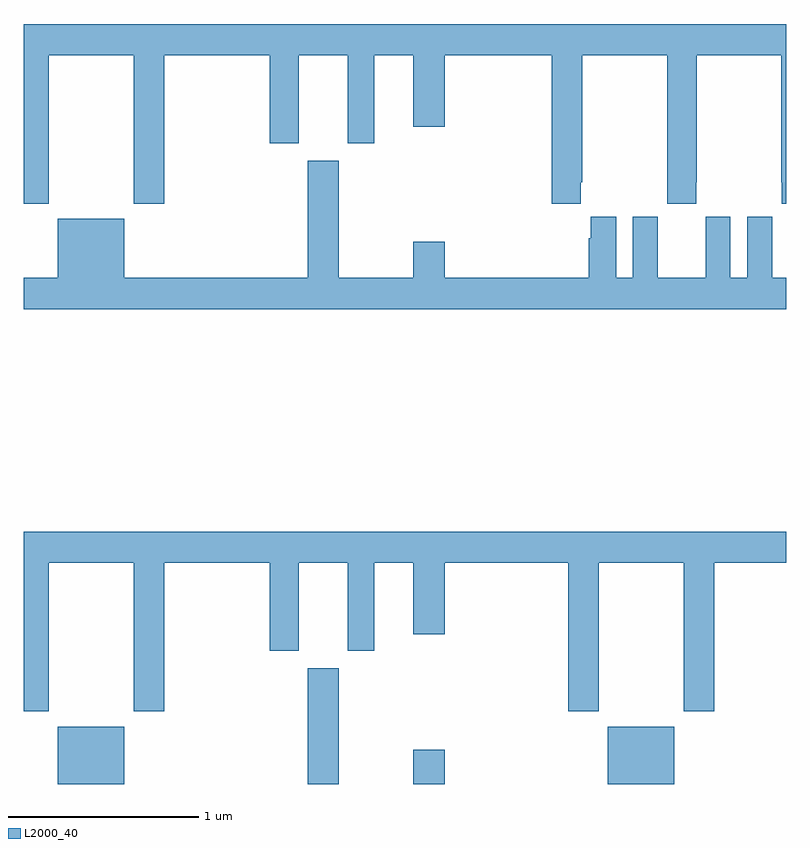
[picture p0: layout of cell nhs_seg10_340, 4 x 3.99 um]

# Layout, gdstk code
import gdstk
lib = gdstk.Library(unit=1e-6, precision=1e-09)
def R(c, l, rs):  # rectangles x0, y0, x1, y1
    for r in rs: c.add(gdstk.rectangle(r[:2], r[2:], *l))
def P(c, l, *ps):  # polygons
    for p in ps: c.add(gdstk.Polygon(p, *l))
L2000_40 = (2000, 40)

nhs_seg10_340 = lib.new_cell('nhs_seg10_340')
R(nhs_seg10_340, L2000_40, [(127.178,1288.5,127.528,1288.801), (128.489,1288.5,128.653,1289.107), (129.044,1288.5,129.208,1288.681), (130.064,1288.5,130.414,1288.801)])
P(nhs_seg10_340, L2000_40, [(127.131,1292.324),(127.576,1292.324),(127.576,1291.545),(127.736,1291.545),(127.736,1292.324),(128.291,1292.324),(128.291,1291.863),(128.443,1291.863),(128.443,1292.324),(128.699,1292.324),(128.699,1291.863),(128.839,1291.863),(128.839,1292.324),(129.044,1292.324),(129.044,1291.95),(129.208,1291.95),(129.208,1292.324),(129.77,1292.324),(129.77,1291.545),(129.923,1291.545),(129.923,1291.657),(129.93,1291.657),(129.93,1292.324),(130.375,1292.324),(130.375,1291.657),(130.377,1291.657),(130.377,1291.545),(130.527,1291.545),(130.527,1291.657),(130.53,1291.657),(130.53,1292.324),(130.975,1292.324),(130.975,1291.657),(130.977,1291.657),(130.977,1291.545),(131,1291.545),(131,1292.488),(127,1292.488),(127,1291.545),(127.131,1291.545)],
  [(131,1291.156),(130.927,1291.156),(130.927,1291.364),(130.926,1291.364),(130.926,1291.477),(130.796,1291.477),(130.796,1291.156),(130.708,1291.156),(130.708,1291.477),(130.578,1291.477),(130.578,1291.364),(130.577,1291.364),(130.577,1291.156),(130.327,1291.156),(130.327,1291.364),(130.326,1291.364),(130.326,1291.477),(130.196,1291.477),(130.196,1291.156),(130.108,1291.156),(130.108,1291.477),(129.974,1291.477),(129.974,1291.364),(129.965,1291.364),(129.965,1291.156),(129.208,1291.156),(129.208,1291.345),(129.044,1291.345),(129.044,1291.156),(128.653,1291.156),(128.653,1291.771),(128.489,1291.771),(128.489,1291.156),(127.528,1291.156),(127.528,1291.465),(127.178,1291.465),(127.178,1291.156),(127,1291.156),(127,1290.992),(131,1290.992)],
  [(127.131,1289.66),(127.576,1289.66),(127.576,1288.881),(127.736,1288.881),(127.736,1289.66),(128.291,1289.66),(128.291,1289.199),(128.443,1289.199),(128.443,1289.66),(128.699,1289.66),(128.699,1289.199),(128.839,1289.199),(128.839,1289.66),(129.044,1289.66),(129.044,1289.286),(129.208,1289.286),(129.208,1289.66),(129.857,1289.66),(129.857,1288.881),(130.017,1288.881),(130.017,1289.66),(130.462,1289.66),(130.462,1288.881),(130.622,1288.881),(130.622,1289.66),(131,1289.66),(131,1289.824),(127,1289.824),(127,1288.881),(127.131,1288.881)])

lib.write_gds('nhs_seg10_340.gds')
